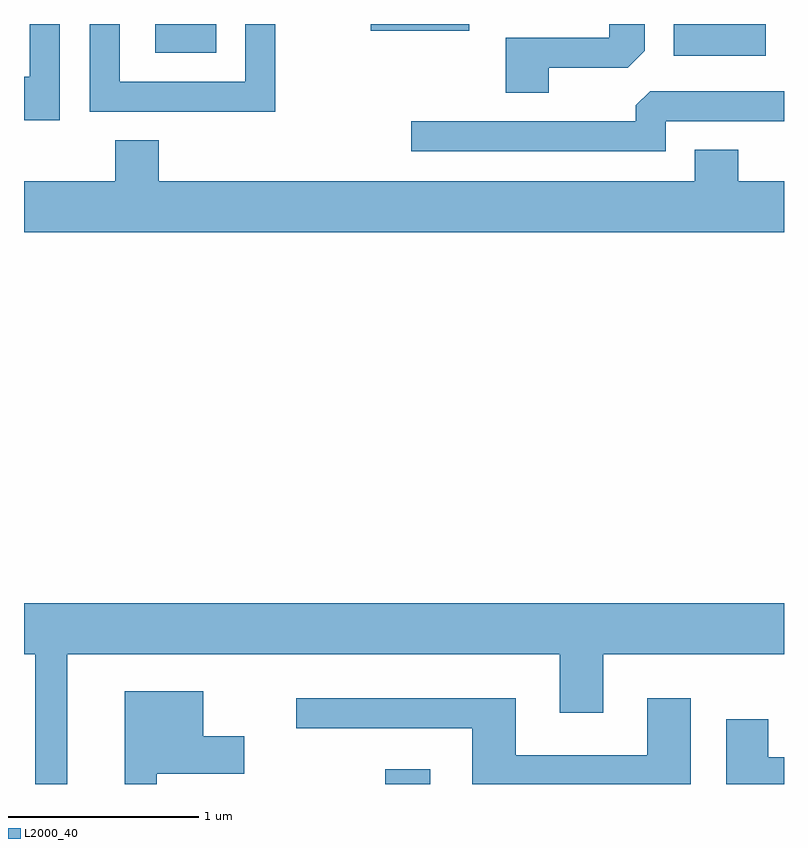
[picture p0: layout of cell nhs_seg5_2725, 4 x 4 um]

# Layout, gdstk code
import gdstk
lib = gdstk.Library(unit=1e-6, precision=1e-09)
def R(c, l, rs):  # rectangles x0, y0, x1, y1
    for r in rs: c.add(gdstk.rectangle(r[:2], r[2:], *l))
def P(c, l, *ps):  # polygons
    for p in ps: c.add(gdstk.Polygon(p, *l))
L2000_40 = (2000, 40)

nhs_seg5_2725 = lib.new_cell('nhs_seg5_2725')
R(nhs_seg5_2725, L2000_40, [(267.511,1496.072,267.748,1496.149), (269.031,1499.906,269.514,1500.072), (266.301,1499.921,266.624,1500.072), (267.436,1500.036,267.954,1500.072)])
P(nhs_seg5_2725, L2000_40, [(266.934,1500.072),(266.776,1500.072),(266.776,1499.769),(266.114,1499.769),(266.114,1500.072),(265.956,1500.072),(265.956,1499.611),(266.934,1499.611)],
  [(268.374,1499.841),(268.789,1499.841),(268.879,1499.932),(268.879,1500.072),(268.691,1500.072),(268.691,1499.999),(268.146,1499.999),(268.146,1499.711),(268.374,1499.711)],
  [(265.799,1500.072),(265.641,1500.072),(265.641,1499.794),(265.611,1499.794),(265.611,1499.566),(265.799,1499.566)],
  [(268.989,1499.561),(269.611,1499.561),(269.611,1499.719),(268.907,1499.719),(268.831,1499.644),(268.831,1499.559),(267.648,1499.559),(267.648,1499.401),(268.989,1499.401)],
  [(269.611,1499.244),(269.369,1499.244),(269.369,1499.409),(269.141,1499.409),(269.141,1499.244),(266.319,1499.244),(266.319,1499.459),(266.091,1499.459),(266.091,1499.244),(265.611,1499.244),(265.611,1498.976),(269.611,1498.976)],
  [(265.839,1496.756),(268.431,1496.756),(268.431,1496.446),(268.659,1496.446),(268.659,1496.756),(269.611,1496.756),(269.611,1497.024),(265.611,1497.024),(265.611,1496.756),(265.671,1496.756),(265.671,1496.072),(265.839,1496.072)],
  [(266.309,1496.126),(266.769,1496.126),(266.769,1496.324),(266.554,1496.324),(266.554,1496.559),(266.141,1496.559),(266.141,1496.072),(266.309,1496.072)],
  [(269.119,1496.524),(268.891,1496.524),(268.891,1496.224),(268.199,1496.224),(268.199,1496.524),(267.043,1496.524),(267.043,1496.366),(267.971,1496.366),(267.971,1496.072),(269.119,1496.072)],
  [(269.611,1496.214),(269.529,1496.214),(269.529,1496.414),(269.306,1496.414),(269.306,1496.072),(269.611,1496.072)])

lib.write_gds('nhs_seg5_2725.gds')
